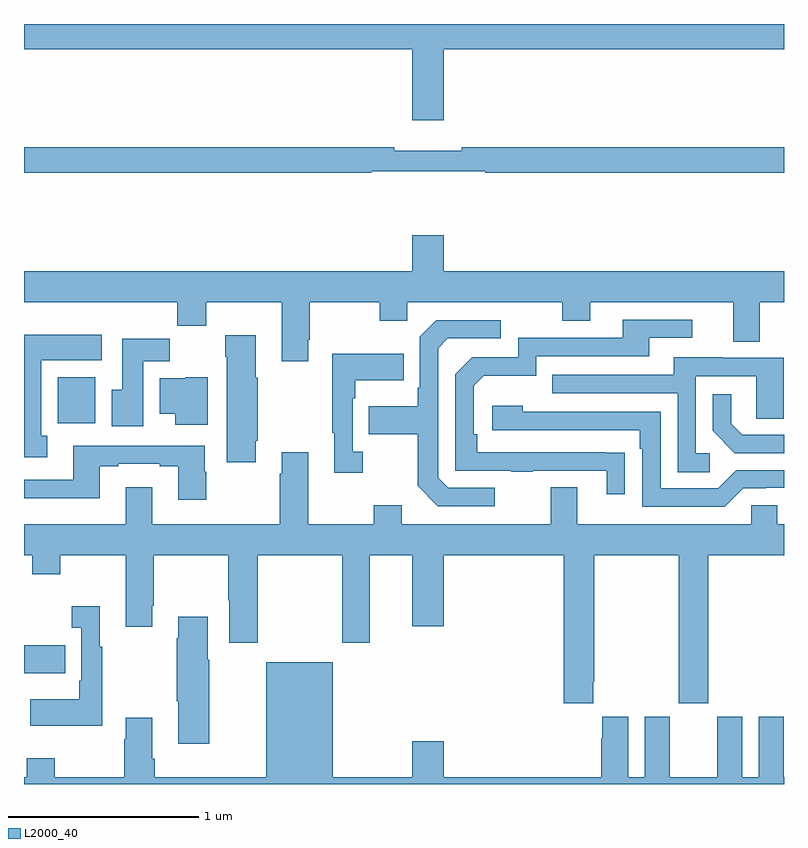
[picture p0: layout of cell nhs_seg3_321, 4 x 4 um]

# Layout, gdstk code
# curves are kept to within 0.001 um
import gdstk
lib = gdstk.Library(unit=1e-6, precision=1e-09)
def R(c, l, rs):  # rectangles x0, y0, x1, y1
    for r in rs: c.add(gdstk.rectangle(r[:2], r[2:], *l))
def P(c, l, *ps):  # polygons
    for p in ps: c.add(gdstk.Polygon(p, *l))
L2000_40 = (2000, 40)

nhs_seg3_321 = lib.new_cell('nhs_seg3_321')
R(nhs_seg3_321, L2000_40, [(127,678.983,127.217,679.131), (127.178,680.3,127.375,680.542)])
P(nhs_seg3_321, L2000_40, [(129.208,682.268),(131,682.268),(131,682.4),(127,682.4),(127,682.268),(129.044,682.268),(129.044,681.894),(129.208,681.894)],
  [(128.828,681.624),(129.428,681.624),(129.428,681.616),(131,681.616),(131,681.752),(129.304,681.752),(129.304,681.733),(128.948,681.733),(128.948,681.752),(127,681.752),(127,681.616),(128.828,681.616)],
  [(128.497,680.737),(128.505,680.737),(128.505,680.936),(128.872,680.936),(128.872,680.837),(129.018,680.837),(129.018,680.936),(129.832,680.936),(129.832,680.837),(129.979,680.837),(129.979,680.936),(130.733,680.936),(130.733,680.728),(130.873,680.728),(130.873,680.936),(131,680.936),(131,681.1),(129.208,681.1),(129.208,681.289),(129.044,681.289),(129.044,681.1),(127,681.1),(127,680.936),(127.807,680.936),(127.807,680.812),(127.959,680.812),(127.959,680.936),(128.357,680.936),(128.357,680.625),(128.497,680.625)],
  [(130.163,680.144),(129.386,680.145),(129.386,680.242),(129.366,680.242),(129.366,680.496),(129.419,680.549),(129.696,680.549),(129.696,680.652),(130.291,680.652),(130.291,680.748),(130.516,680.748),(130.516,680.844),(130.151,680.844),(130.151,680.748),(129.6,680.748),(129.6,680.646),(129.36,680.646),(129.27,680.556),(129.27,680.049),(129.565,680.049),(129.565,680.044),(129.677,680.044),(129.677,680.049),(130.067,680.049),(130.067,679.926),(130.163,679.926)],
  [(129.477,679.959),(129.234,679.959),(129.18,680.013),(129.18,680.694),(129.231,680.745),(129.508,680.745),(129.508,680.841),(129.171,680.841),(129.084,680.754),(129.084,680.485),(129.072,680.485),(129.072,680.389),(128.815,680.389),(128.815,680.242),(129.072,680.242),(129.072,679.969),(129.177,679.863),(129.477,679.863)],
  [(127.123,680.234),(127.09,680.234),(127.09,680.63),(127.408,680.63),(127.408,680.764),(127,680.764),(127,680.121),(127.123,680.121)],
  [(128.221,680.206),(128.229,680.206),(128.229,680.537),(128.221,680.537),(128.221,680.761),(128.059,680.761),(128.059,680.648),(128.066,680.648),(128.066,680.094),(128.221,680.094)],
  [(127.627,680.624),(127.766,680.624),(127.766,680.743),(127.517,680.743),(127.517,680.476),(127.463,680.476),(127.463,680.283),(127.627,680.283)],
  [(128.782,680.15),(128.73,680.15),(128.73,680.429),(128.743,680.429),(128.743,680.525),(128.999,680.525),(128.999,680.665),(128.622,680.665),(128.622,680.249),(128.633,680.249),(128.633,680.037),(128.782,680.037)],
  [(130.608,680.142),(130.536,680.142),(130.536,680.547),(130.854,680.547),(130.854,680.323),(130.999,680.323),(130.999,680.643),(130.675,680.643),(130.675,680.647),(130.421,680.647),(130.421,680.553),(129.781,680.553),(129.781,680.457),(130.44,680.457),(130.44,680.041),(130.608,680.041)],
  [(127.966,680.542),(127.848,680.542),(127.848,680.536),(127.715,680.536),(127.715,680.348),(127.796,680.348),(127.796,680.291),(127.966,680.291)],
  [(131,680.238),(130.78,680.238),(130.723,680.295),(130.723,680.452),(130.626,680.452),(130.626,680.258),(130.742,680.142),(131,680.142)],
  [(130.785,679.956),(130.904,679.956),(130.904,679.959),(131,679.959),(131,680.052),(130.749,680.052),(130.653,679.956),(130.35,679.956),(130.35,680.358),(129.626,680.358),(129.626,680.392),(129.465,680.392),(129.465,680.262),(130.241,680.262),(130.241,680.165),(130.254,680.165),(130.254,679.86),(130.689,679.86)],
  [(127.959,680.043),(127.951,680.043),(127.951,680.181),(127.259,680.181),(127.259,680.001),(127,680.001),(127,679.904),(127.399,679.904),(127.399,680.073),(127.495,680.073),(127.495,680.085),(127.715,680.085),(127.715,680.073),(127.811,680.073),(127.811,679.896),(127.959,679.896)],
  [(129.997,678.937),(130.002,678.937),(130.002,679.604),(130.447,679.604),(130.447,678.825),(130.602,678.825),(130.602,679.604),(131,679.604),(131,679.768),(130.965,679.768),(130.965,679.866),(130.827,679.866),(130.827,679.768),(129.913,679.768),(129.913,679.963),(129.773,679.963),(129.773,679.768),(128.989,679.768),(128.989,679.867),(128.842,679.867),(128.842,679.768),(128.497,679.768),(128.497,680.146),(128.357,680.146),(128.357,680.033),(128.345,680.033),(128.345,679.768),(127.675,679.768),(127.675,679.963),(127.535,679.963),(127.535,679.768),(127,679.768),(127,679.604),(127.043,679.604),(127.043,679.505),(127.191,679.505),(127.191,679.604),(127.535,679.604),(127.535,679.227),(127.675,679.227),(127.675,679.339),(127.683,679.339),(127.683,679.604),(128.074,679.604),(128.074,679.366),(128.081,679.366),(128.081,679.143),(128.229,679.143),(128.229,679.604),(128.674,679.604),(128.674,679.143),(128.821,679.143),(128.821,679.604),(129.044,679.604),(129.044,679.23),(129.208,679.23),(129.208,679.604),(129.842,679.604),(129.842,678.825),(129.997,678.825)],
  [(127.411,679.123),(127.399,679.123),(127.399,679.336),(127.251,679.336),(127.251,679.223),(127.302,679.223),(127.302,678.943),(127.29,678.943),(127.29,678.847),(127.033,678.847),(127.033,678.707),(127.411,678.707)],
  [(127.974,679.055),(127.966,679.055),(127.966,679.279),(127.811,679.279),(127.811,679.166),(127.804,679.166),(127.804,678.835),(127.811,678.835),(127.811,678.612),(127.974,678.612)],
  [(131,678.436),(130.999,678.436),(130.999,678.754),(130.868,678.754),(130.868,678.436),(130.78,678.436),(130.78,678.754),(130.649,678.754),(130.649,678.436),(130.399,678.436),(130.399,678.754),(130.268,678.754),(130.268,678.436),(130.18,678.436),(130.18,678.754),(130.043,678.754),(130.043,678.641),(130.037,678.641),(130.037,678.436),(129.208,678.436),(129.208,678.625),(129.044,678.625),(129.044,678.436),(128.626,678.436),(128.626,679.042),(128.276,679.042),(128.276,678.436),(127.688,678.436),(127.688,678.532),(127.675,678.532),(127.675,678.748),(127.535,678.748),(127.535,678.635),(127.528,678.635),(127.528,678.436),(127.161,678.436),(127.161,678.535),(127.014,678.535),(127.014,678.436),(127,678.436),(127,678.4),(131,678.4)])

lib.write_gds('nhs_seg3_321.gds')
